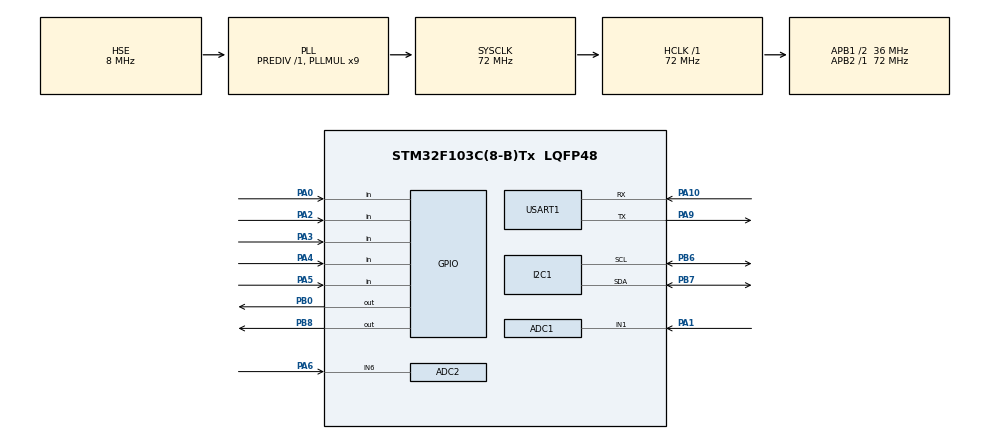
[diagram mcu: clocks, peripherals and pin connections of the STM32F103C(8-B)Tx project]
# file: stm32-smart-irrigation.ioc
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ADC1.Channel-0\#ChannelRegularConversion=ADC_CHANNEL_1
ADC1.ContinuousConvMode=DISABLE
ADC1.NbrOfConversionFlag=1
ADC1.Rank-0\#ChannelRegularConversion=1
ADC1.SamplingTime-0\#ChannelRegularConversion=ADC_SAMPLETIME_239CYCLES_5
ADC1.master=1
ADC2.Channel-0\#ChannelRegularConversion=ADC_CHANNEL_6
ADC2.ContinuousConvMode=DISABLE
ADC2.NbrOfConversionFlag=1
ADC2.Rank-0\#ChannelRegularConversion=1
ADC2.SamplingTime-0\#ChannelRegularConversion=ADC_SAMPLETIME_239CYCLES_5
Mcu.Family=STM32F1
Mcu.Name=STM32F103C(8-B)Tx
Mcu.Package=LQFP48
NVIC.PriorityGroup=NVIC_PRIORITYGROUP_4
NVIC.RTC_Alarm_IRQn=true\:0\:0\:false\:false\:true\:true\:true\:true
NVIC.RTC_IRQn=true\:0\:0\:false\:false\:true\:true\:true\:true
PA0-WKUP.GPIO_PuPd=GPIO_PULLUP
PA0-WKUP.Signal=GPIO_Input
PA1.Signal=ADCx_IN1
PA10.Mode=Asynchronous
PA10.Signal=USART1_RX
PA13.Mode=Serial_Wire
PA13.Signal=SYS_JTMS-SWDIO
PA14.Mode=Serial_Wire
PA14.Signal=SYS_JTCK-SWCLK
PA2.GPIO_PuPd=GPIO_PULLUP
PA2.Signal=GPIO_Input
PA3.GPIO_PuPd=GPIO_PULLUP
PA3.Signal=GPIO_Input
PA4.GPIO_PuPd=GPIO_PULLUP
PA4.Signal=GPIO_Input
PA5.GPIO_PuPd=GPIO_PULLUP
PA5.Signal=GPIO_Input
PA6.Signal=ADCx_IN6
PA9.Mode=Asynchronous
PA9.Signal=USART1_TX
PB0.PinState=GPIO_PIN_SET
PB0.Signal=GPIO_Output
PB6.Mode=I2C
PB6.Signal=I2C1_SCL
PB7.Mode=I2C
PB7.Signal=I2C1_SDA
PB8.PinState=GPIO_PIN_RESET
PB8.Signal=GPIO_Output
PC14-OSC32_IN.Mode=LSE-External-Oscillator
PC14-OSC32_IN.Signal=RCC_OSC32_IN
PC15-OSC32_OUT.Mode=LSE-External-Oscillator
PC15-OSC32_OUT.Signal=RCC_OSC32_OUT
PD0-OSC_IN.Mode=HSE-External-Oscillator
PD0-OSC_IN.Signal=RCC_OSC_IN
PD1-OSC_OUT.Mode=HSE-External-Oscillator
PD1-OSC_OUT.Signal=RCC_OSC_OUT
ProjectManager.HeapSize=0x200
ProjectManager.StackSize=0x400
ProjectManager.TargetToolchain=Makefile
RCC.ADCPresc=RCC_ADCPCLK2_DIV6
RCC.AHBFreq_Value=72000000
RCC.APB1CLKDivider=RCC_HCLK_DIV2
RCC.APB1Freq_Value=36000000
RCC.APB1TimFreq_Value=72000000
RCC.APB2Freq_Value=72000000
RCC.APB2TimFreq_Value=72000000
RCC.HCLKFreq_Value=72000000
RCC.PLLMUL=RCC_PLL_MUL9
RCC.PLLSourceVirtual=RCC_PLLSOURCE_HSE
RCC.RTCClockSelection=RCC_RTCCLKSOURCE_LSE
RCC.SYSCLKFreq_VALUE=72000000
RCC.SYSCLKSource=RCC_SYSCLKSOURCE_PLLCLK
RCC.USBFreq_Value=72000000
RTC.Hours=0
RTC.Minutes=0
RTC.Seconds=0
SH.ADCx_IN1.0=ADC1_IN1,IN1
SH.ADCx_IN6.0=ADC2_IN6,IN6
TIM2.Prescaler=71
USART1.VirtualMode=VM_ASYNC
VP_RTC_VS_RTC_Activate.Mode=RTC_Enabled
VP_RTC_VS_RTC_Calendar.Mode=RTC_Calendar
VP_TIM2_VS_ClockSourceINT.Mode=Internal
board=custom

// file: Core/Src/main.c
/* USER CODE BEGIN Header */
/**
  ******************************************************************************
  * @file           : main.c
  * @brief          : Main program body
  ******************************************************************************
  * @attention
  *
  * Copyright (c) 2026 STMicroelectronics.
  * All rights reserved.
  *
  * This software is licensed under terms that can be found in the LICENSE file
  * in the root directory of this software component.
  * If no LICENSE file comes with this software, it is provided AS-IS.
  *
  ******************************************************************************
  */
/* USER CODE END Header */
#include "main.h"

/* USER CODE BEGIN Includes */
#include "relay.h"
#include "dht11.h"
#include "uart_logger.h"
#include "soil_sensor.h"
#include "rtc.h"
#include "btn.h"
#include "lcd_i2c.h"
/* USER CODE END Includes */

ADC_HandleTypeDef hadc1;
ADC_HandleTypeDef hadc2;
I2C_HandleTypeDef hi2c1;
RTC_HandleTypeDef hrtc;
TIM_HandleTypeDef htim2;
UART_HandleTypeDef huart1;
/* USER CODE BEGIN PV */
DHT11_Data dht_sensor;
uint8_t dht_status = 0;
SoilSensor soil;
uint32_t adc_water_raw = 0;
float water_level_pct = 0.0f;

uint32_t last_sensor_time = 0;
static LCD_Handle_t lcd;

/* USER CODE END PV */

void SystemClock_Config(void);
static void MX_GPIO_Init(void);
static void MX_ADC1_Init(void);
static void MX_I2C1_Init(void);
static void MX_RTC_Init(void);
static void MX_TIM2_Init(void);
static void MX_USART1_UART_Init(void);
static void MX_ADC2_Init(void);
/* USER CODE BEGIN PFP */
static float Read_Water_Level(ADC_HandleTypeDef *hadc) {
    uint32_t sum = 0;
    for (uint8_t i = 0; i < 10; i++) {
        HAL_ADC_Start(hadc);
        if (HAL_ADC_PollForConversion(hadc, 10) == HAL_OK) {
            sum += HAL_ADC_GetValue(hadc);
        }
        HAL_ADC_Stop(hadc);
    }
    // Giả sử 0-4095 tương ứng 0-100%
    float pct = ((float)(sum / 10) / 4095.0f) * 100.0f;
    return (pct > 100.0f) ? 100.0f : pct;
}
/* USER CODE END PFP */

int main(void)
{

  /* MCU Configuration--------------------------------------------------------*/

  /* Reset of all peripherals, Initializes the Flash interface and the Systick. */
  HAL_Init();

  /* Configure the system clock */
  SystemClock_Config();

  /* Initialize all configured peripherals */
  MX_GPIO_Init();
  MX_ADC1_Init();
  MX_I2C1_Init();
  MX_RTC_Init();
  MX_TIM2_Init();
  MX_USART1_UART_Init();
  MX_ADC2_Init();
  /* USER CODE BEGIN 2 */
  Relay_Init();
  DHT11_Init();
  HAL_ADC_Start(&hadc1);
  UART_Logger_Init(&huart1);
  LCD_Init(&lcd, &hi2c1, 0x20, HAL_GetTick());
  LOG_I("=== HE THONG TUOI CAY TU DONG KHOT DONG ===");
  /* USER CODE END 2 */

  /* Infinite loop */
  /* USER CODE BEGIN WHILE */
  while (1)
  {
   uint32_t now = HAL_GetTick();

    /* ====================================================================
     * TÁC VỤ 1: ĐA NHIỆM GIAO DIỆN (Chạy liên tục, KHÔNG dùng Delay)
     * ==================================================================== */
    BTN_Scan(now);
    Btn_Event_t evt = BTN_GetEvent();
    if (evt != BTN_EVT_NONE) {
        LCD_HandleEvent(&lcd, evt, now);
    }
    LCD_Task(&lcd, now);
    RTC_Process(); // Xử lý nhịp xung 10s ON / 5s OFF

    /* Đồng bộ LCD -> RTC (Nếu người dùng chỉnh giờ trên màn hình) */
    LCD_Time_t newTime;
    if (LCD_TimeSaved(&lcd, &newTime)) {
        RTC_TimeTypeDef sTime = { .Hours = newTime.hour, .Minutes = newTime.minute, .Seconds = newTime.second };
        HAL_RTC_SetTime(&hrtc, &sTime, RTC_FORMAT_BIN);
        RTC_DateTypeDef sDate = { .Date = newTime.day, .Month = newTime.month, .Year = (uint8_t)(newTime.year - 2000), .WeekDay = RTC_WEEKDAY_MONDAY };
        HAL_RTC_SetDate(&hrtc, &sDate, RTC_FORMAT_BIN);
        LOG_I("Da cap nhat gio RTC tu LCD");
    }
        /* ĐỒNG BỘ LỊCH TỪ LCD SANG RTC */
        const LCD_Schedule_t* sched1 = LCD_GetSchedule(&lcd, 0);
        const LCD_Schedule_t* sched2 = LCD_GetSchedule(&lcd, 1);
        RTC_DatLich1(sched1->hour, sched1->minute, sched1->enable);
        RTC_DatLich2(sched2->hour, sched2->minute, sched2->enable);

    /* ====================================================================
     * TÁC VỤ 2: QUÉT CẢM BIẾN & XỬ LÝ LOGIC (Mỗi 1000ms)
     * ==================================================================== */
    if (now - last_sensor_time >= 1000) {
        last_sensor_time = now;

        // 1. Đọc dữ liệu cảm biến
        dht_status = DHT11_Read(&dht_sensor);
        Soil_Read(&hadc1, &soil);
        water_level_pct = Read_Water_Level(&hadc2);

        float T = dht_sensor.temperature;
        float H_air = dht_sensor.humidity;
        float M_soil = soil.soil_moisture;

        // 2. Đẩy dữ liệu hiển thị lên LCD
        LCD_Sensor_t realSensors = {
            .temp = (uint8_t)T, .humi = (uint8_t)H_air,
            .soil = (uint8_t)M_soil, .water = (uint8_t)water_level_pct
        };
        LCD_UpdateSensor(&lcd, &realSensors);

        // Đẩy giờ RTC lên LCD
        RTC_TimeTypeDef sTime;
        if (HAL_RTC_GetTime(&hrtc, &sTime, RTC_FORMAT_BIN) == HAL_OK) {
            RTC_DateTypeDef sDate; HAL_RTC_GetDate(&hrtc, &sDate, RTC_FORMAT_BIN);
            LCD_Time_t currentTime = {
                .day = (sDate.Date == 0) ? 1 : sDate.Date, .month = (sDate.Month == 0) ? 1 : sDate.Month, .year = 2000 + sDate.Year,
                .hour = sTime.Hours, .minute = sTime.Minutes, .second = sTime.Seconds
            };
            LCD_SetTime(&lcd, &currentTime);
        }

        /* =================================================================
         * 3. LOGIC ĐIỀU KHIỂN BƠM THEO CẤP ĐỘ ƯU TIÊN
         * ================================================================= */
        const LCD_Setting_t* set = LCD_GetSetting(&lcd);

        // Lấy ngưỡng động từ cài đặt trên LCD (Mặc định nếu chưa cài: 40% đất, 32C, 30% ẩm)
        float threshold_low = (float)(set->soil > 0 ? set->soil : 40);
        float threshold_high = threshold_low + 20.0f; // Tạo Hysteresis dải 20%
        if (threshold_high > 100.0f) threshold_high = 100.0f;

        float temp_limit = (float)(set->temp > 0 ? set->temp : 32);
        float humi_limit = (float)(set->humi > 0 ? set->humi : 30);

        // --- ƯU TIÊN 0: BẢO VỆ PHẦN CỨNG BẮT BUỘC (Cao nhất) ---
        if (dht_status == 0 || soil.status == SOIL_ERROR) {
            Relay_SetState(RELAY_OFF);
            RTC_DungTuoi();
            LOG_E("LOI CAM BIEN: Ngat bom an toan.");
        }
        else if (water_level_pct < 10.0f) {
            Relay_SetState(RELAY_OFF);
            RTC_DungTuoi();
            LOG_E("LOI BE NUOC: Muc nuoc %.1f%% < 10%% -> Khoa bom chong chay kho.", water_level_pct);
        }
        else if (T > 38.0f) {
            Relay_SetState(RELAY_OFF);
            RTC_DungTuoi();
            LOG_W("CANH BAO DAC BIET: Nhiet do %.1f > 38C -> Tat bom chong soc nhiet!", T);
        }

        // --- ƯU TIÊN 1: BƠM THỦ CÔNG (Từ màn hình LCD) ---
        else if (set->mode == LCD_PUMP_MANUAL) {
            Relay_SetState(set->pumpOn ? RELAY_ON : RELAY_OFF);
            LOG_I("MANUAL MODE: Bom dang %s", set->pumpOn ? "BAT" : "TAT");
        }

        // --- ƯU TIÊN 2.A: ĐẠT MỤC TIÊU ĐỘ ẨM KHÓA BƠM HẲN ---
        else if (M_soil >= threshold_high) {
            Relay_SetState(RELAY_OFF);
            RTC_DungTuoi();

            if (T <= temp_limit && H_air >= humi_limit)      LOG_I("M>=%.0f%% -> Tat bom (Khong canh bao)", threshold_high);
            else if (T <= temp_limit && H_air < humi_limit)  LOG_W("M>=%.0f%% -> Tat bom (CB: Khong khi kho)", threshold_high);
            else if (T > temp_limit && H_air >= humi_limit)  LOG_W("M>=%.0f%% -> Tat bom (CB: Nhiet do cao)", threshold_high);
            else                                             LOG_W("M>=%.0f%% -> Tat bom (CB: Nong & Kho)", threshold_high);
        }

        // --- ƯU TIÊN 2.B: LỊCH TƯỚI XUNG NHỊP RTC ---
        else if (RTC_KiemTraPhienTuoiDangChay()) {
            Relay_State rtc_state = RTC_KiemTraBomDangChay() ? RELAY_ON : RELAY_OFF;
            Relay_SetState(rtc_state);
            LOG_I("AUTO-RTC: Chay theo nhip (%s)", rtc_state == RELAY_ON ? "10s ON" : "5s OFF");
        }

        // --- ƯU TIÊN 3: LOGIC CẢM BIẾN TỰ ĐỘNG ---
        else {
            if (M_soil < threshold_low) {
                Relay_SetState(RELAY_ON);
                if (T <= temp_limit && H_air >= humi_limit)      LOG_I("M<%.0f%% -> Bom (Khong canh bao)", threshold_low);
                else if (T <= temp_limit && H_air < humi_limit)  LOG_W("M<%.0f%% -> Bom (CB: Khong khi kho)", threshold_low);
                else if (T > temp_limit && H_air >= humi_limit)  LOG_W("M<%.0f%% -> Bom (CB: Nhiet do cao)", threshold_low);
                else                                             LOG_W("M<%.0f%% -> Bom (CB: Nong & Kho)", threshold_low);
            }
            else { // Vùng Hysteresis (Đang giữa mức thấp và cao)
                if (T <= temp_limit && H_air >= humi_limit) {
                    Relay_State current = Relay_GetState();
                    LOG_I("TH5: M(%.0f-%.0f%%) -> Giu nguyen (%s) (Tiep tuc theo doi)", threshold_low, threshold_high, current == RELAY_ON ? "Bom" : "Tat");
                }
                else {
                    Relay_SetState(RELAY_ON);
                    if (T <= temp_limit && H_air < humi_limit)       LOG_W("M(%.0f-%.0f%%) -> Bom (CB: Khong khi kho)", threshold_low, threshold_high);
                    else if (T > temp_limit && H_air >= humi_limit)  LOG_W("M(%.0f-%.0f%%) -> Bom (CB: Nhiet do cao)", threshold_low, threshold_high);
                    else                                             LOG_W("M(%.0f-%.0f%%) -> Bom (CB: Nong & Kho)", threshold_low, threshold_high);
                }
            }
        }
    }
  }

  /* USER CODE END 3 */
}

void SystemClock_Config(void)
{
  RCC_OscInitTypeDef RCC_OscInitStruct = {0};
  RCC_ClkInitTypeDef RCC_ClkInitStruct = {0};
  RCC_PeriphCLKInitTypeDef PeriphClkInit = {0};

  /** Initializes the RCC Oscillators according to the specified parameters
  * in the RCC_OscInitTypeDef structure.
  */
  RCC_OscInitStruct.OscillatorType = RCC_OSCILLATORTYPE_HSE|RCC_OSCILLATORTYPE_LSE;
  RCC_OscInitStruct.HSEState = RCC_HSE_ON;
  RCC_OscInitStruct.HSEPredivValue = RCC_HSE_PREDIV_DIV1;
  RCC_OscInitStruct.LSEState = RCC_LSE_ON;
  RCC_OscInitStruct.HSIState = RCC_HSI_ON;
  RCC_OscInitStruct.PLL.PLLState = RCC_PLL_ON;
  RCC_OscInitStruct.PLL.PLLSource = RCC_PLLSOURCE_HSE;
  RCC_OscInitStruct.PLL.PLLMUL = RCC_PLL_MUL9;
  if (HAL_RCC_OscConfig(&RCC_OscInitStruct) != HAL_OK)
  {
    Error_Handler();
  }

  /** Initializes the CPU, AHB and APB buses clocks
  */
  RCC_ClkInitStruct.ClockType = RCC_CLOCKTYPE_HCLK|RCC_CLOCKTYPE_SYSCLK
                              |RCC_CLOCKTYPE_PCLK1|RCC_CLOCKTYPE_PCLK2;
  RCC_ClkInitStruct.SYSCLKSource = RCC_SYSCLKSOURCE_PLLCLK;
  RCC_ClkInitStruct.AHBCLKDivider = RCC_SYSCLK_DIV1;
  RCC_ClkInitStruct.APB1CLKDivider = RCC_HCLK_DIV2;
  RCC_ClkInitStruct.APB2CLKDivider = RCC_HCLK_DIV1;

  if (HAL_RCC_ClockConfig(&RCC_ClkInitStruct, FLASH_LATENCY_2) != HAL_OK)
  {
    Error_Handler();
  }
  PeriphClkInit.PeriphClockSelection = RCC_PERIPHCLK_RTC|RCC_PERIPHCLK_ADC;
  PeriphClkInit.RTCClockSelection = RCC_RTCCLKSOURCE_LSE;
  PeriphClkInit.AdcClockSelection = RCC_ADCPCLK2_DIV6;
  if (HAL_RCCEx_PeriphCLKConfig(&PeriphClkInit) != HAL_OK)
  {
    Error_Handler();
  }
}

static void MX_ADC1_Init(void)
{

  ADC_ChannelConfTypeDef sConfig = {0};

  /** Common config
  */
  hadc1.Instance = ADC1;
  hadc1.Init.ScanConvMode = ADC_SCAN_DISABLE;
  hadc1.Init.ContinuousConvMode = DISABLE;
  hadc1.Init.DiscontinuousConvMode = DISABLE;
  hadc1.Init.ExternalTrigConv = ADC_SOFTWARE_START;
  hadc1.Init.DataAlign = ADC_DATAALIGN_RIGHT;
  hadc1.Init.NbrOfConversion = 1;
  if (HAL_ADC_Init(&hadc1) != HAL_OK)
  {
    Error_Handler();
  }

  /** Configure Regular Channel
  */
  sConfig.Channel = ADC_CHANNEL_1;
  sConfig.Rank = ADC_REGULAR_RANK_1;
  sConfig.SamplingTime = ADC_SAMPLETIME_239CYCLES_5;
  if (HAL_ADC_ConfigChannel(&hadc1, &sConfig) != HAL_OK)
  {
    Error_Handler();
  }

}

static void MX_ADC2_Init(void)
{

  ADC_ChannelConfTypeDef sConfig = {0};

  /** Common config
  */
  hadc2.Instance = ADC2;
  hadc2.Init.ScanConvMode = ADC_SCAN_DISABLE;
  hadc2.Init.ContinuousConvMode = DISABLE;
  hadc2.Init.DiscontinuousConvMode = DISABLE;
  hadc2.Init.ExternalTrigConv = ADC_SOFTWARE_START;
  hadc2.Init.DataAlign = ADC_DATAALIGN_RIGHT;
  hadc2.Init.NbrOfConversion = 1;
  if (HAL_ADC_Init(&hadc2) != HAL_OK)
  {
    Error_Handler();
  }

  /** Configure Regular Channel
  */
  sConfig.Channel = ADC_CHANNEL_6;
  sConfig.Rank = ADC_REGULAR_RANK_1;
  sConfig.SamplingTime = ADC_SAMPLETIME_239CYCLES_5;
  if (HAL_ADC_ConfigChannel(&hadc2, &sConfig) != HAL_OK)
  {
    Error_Handler();
  }

}

static void MX_I2C1_Init(void)
{

  hi2c1.Instance = I2C1;
  hi2c1.Init.ClockSpeed = 100000;
  hi2c1.Init.DutyCycle = I2C_DUTYCYCLE_2;
  hi2c1.Init.OwnAddress1 = 0;
  hi2c1.Init.AddressingMode = I2C_ADDRESSINGMODE_7BIT;
  hi2c1.Init.DualAddressMode = I2C_DUALADDRESS_DISABLE;
  hi2c1.Init.OwnAddress2 = 0;
  hi2c1.Init.GeneralCallMode = I2C_GENERALCALL_DISABLE;
  hi2c1.Init.NoStretchMode = I2C_NOSTRETCH_DISABLE;
  if (HAL_I2C_Init(&hi2c1) != HAL_OK)
  {
    Error_Handler();
  }

}

static void MX_RTC_Init(void)
{

  RTC_TimeTypeDef sTime = {0};
  RTC_DateTypeDef DateToUpdate = {0};

  /** Initialize RTC Only
  */
  hrtc.Instance = RTC;
  hrtc.Init.AsynchPrediv = RTC_AUTO_1_SECOND;
  hrtc.Init.OutPut = RTC_OUTPUTSOURCE_ALARM;
  if (HAL_RTC_Init(&hrtc) != HAL_OK)
  {
    Error_Handler();
  }

  /** Initialize RTC and set the Time and Date
  */
/** Initialize RTC and set the Time and Date ONLY IF first boot
  */
  if (HAL_RTCEx_BKUPRead(&hrtc, RTC_BKP_DR1) != 0x32F2)
  {
      sTime.Hours = 0x0;
      sTime.Minutes = 0x0;
      sTime.Seconds = 0x0;

      if (HAL_RTC_SetTime(&hrtc, &sTime, RTC_FORMAT_BCD) != HAL_OK)
      {
        Error_Handler();
      }

      DateToUpdate.WeekDay = RTC_WEEKDAY_MONDAY;
      DateToUpdate.Month = RTC_MONTH_JANUARY;
      DateToUpdate.Date = 0x1;
      DateToUpdate.Year = 0x0;

      if (HAL_RTC_SetDate(&hrtc, &DateToUpdate, RTC_FORMAT_BCD) != HAL_OK)
      {
        Error_Handler();
      }

      /* Lưu dấu ấn vào Backup Register để các lần Reset sau không bị ghi đè giờ */
      HAL_RTCEx_BKUPWrite(&hrtc, RTC_BKP_DR1, 0x32F2);
  }

}

static void MX_TIM2_Init(void)
{

  TIM_ClockConfigTypeDef sClockSourceConfig = {0};
  TIM_MasterConfigTypeDef sMasterConfig = {0};

  htim2.Instance = TIM2;
  htim2.Init.Prescaler = 71;
  htim2.Init.CounterMode = TIM_COUNTERMODE_UP;
  htim2.Init.Period = 65535;
  htim2.Init.ClockDivision = TIM_CLOCKDIVISION_DIV1;
  htim2.Init.AutoReloadPreload = TIM_AUTORELOAD_PRELOAD_DISABLE;
  if (HAL_TIM_Base_Init(&htim2) != HAL_OK)
  {
    Error_Handler();
  }
  sClockSourceConfig.ClockSource = TIM_CLOCKSOURCE_INTERNAL;
  if (HAL_TIM_ConfigClockSource(&htim2, &sClockSourceConfig) != HAL_OK)
  {
    Error_Handler();
  }
  sMasterConfig.MasterOutputTrigger = TIM_TRGO_RESET;
  sMasterConfig.MasterSlaveMode = TIM_MASTERSLAVEMODE_DISABLE;
  if (HAL_TIMEx_MasterConfigSynchronization(&htim2, &sMasterConfig) != HAL_OK)
  {
    Error_Handler();
  }

}

static void MX_USART1_UART_Init(void)
{

  huart1.Instance = USART1;
  huart1.Init.BaudRate = 115200;
  huart1.Init.WordLength = UART_WORDLENGTH_8B;
  huart1.Init.StopBits = UART_STOPBITS_1;
  huart1.Init.Parity = UART_PARITY_NONE;
  huart1.Init.Mode = UART_MODE_TX_RX;
  huart1.Init.HwFlowCtl = UART_HWCONTROL_NONE;
  huart1.Init.OverSampling = UART_OVERSAMPLING_16;
  if (HAL_UART_Init(&huart1) != HAL_OK)
  {
    Error_Handler();
  }

}

static void MX_GPIO_Init(void)
{
  GPIO_InitTypeDef GPIO_InitStruct = {0};

  /* GPIO Ports Clock Enable */
  __HAL_RCC_GPIOC_CLK_ENABLE();
  __HAL_RCC_GPIOD_CLK_ENABLE();
  __HAL_RCC_GPIOA_CLK_ENABLE();
  __HAL_RCC_GPIOB_CLK_ENABLE();

  /*Configure GPIO pin Output Level */
  HAL_GPIO_WritePin(GPIOB, GPIO_PIN_0, GPIO_PIN_RESET);

  /*Configure GPIO pin Output Level */
  HAL_GPIO_WritePin(GPIOB, GPIO_PIN_8, GPIO_PIN_RESET);

  /*Configure GPIO pins : PA0 PA2 PA3 PA4
                           PA5 */
  GPIO_InitStruct.Pin = GPIO_PIN_0|GPIO_PIN_2|GPIO_PIN_3|GPIO_PIN_4
                          |GPIO_PIN_5;
  GPIO_InitStruct.Mode = GPIO_MODE_INPUT;
  GPIO_InitStruct.Pull = GPIO_PULLUP;
  HAL_GPIO_Init(GPIOA, &GPIO_InitStruct);

  /*Configure GPIO pins : PB0 PB8 */
  GPIO_InitStruct.Pin = GPIO_PIN_0|GPIO_PIN_8;
  GPIO_InitStruct.Mode = GPIO_MODE_OUTPUT_PP;
  GPIO_InitStruct.Pull = GPIO_NOPULL;
  GPIO_InitStruct.Speed = GPIO_SPEED_FREQ_LOW;
  HAL_GPIO_Init(GPIOB, &GPIO_InitStruct);

}

void Error_Handler(void)
{
  __disable_irq();
  while (1)
  {
  }
}
